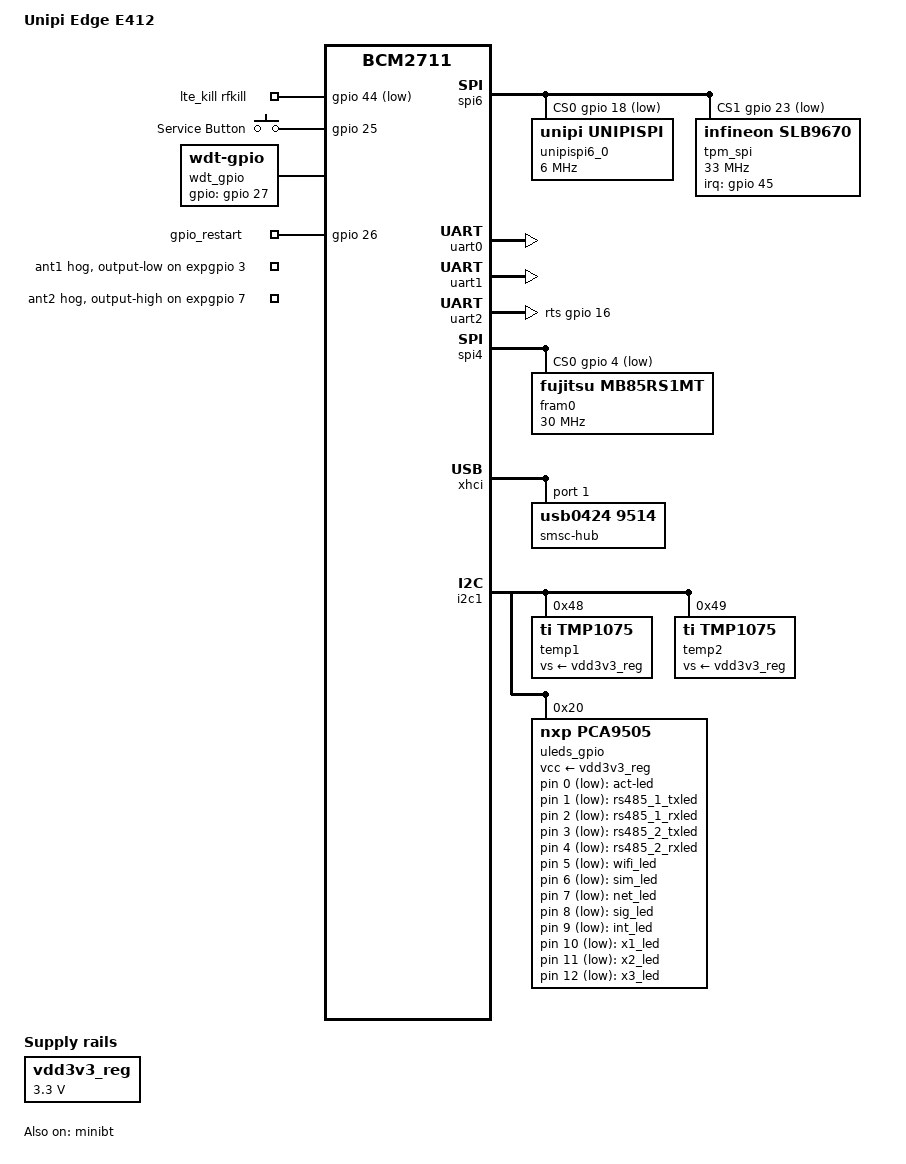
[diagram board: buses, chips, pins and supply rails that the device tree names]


/dts-v1/;
/plugin/;

/{
    
	compatible = "brcm,bcm2711";

	fragment@1 {
		target = <&phy1>;
		__overlay__ {
			led-modes = <0x00 0x08>;
		};
	};

	fragment@2 {
		target = <&pcie0>;
		__overlay__ {
			status = "disabled";
		};
	};

	fragment@3 {
		target = <&ant1>;
		__overlay__ {
			status = "disabled";
		};
	};

	fragment@4 {
		target = <&ant2>;
		__overlay__ {
			status = "disabled";
		};
	};

	fragment@5 {
		target = <&expgpio>;
		__overlay__ {
			ant1alt: ant1alt-hog {
				gpio-hog;
				gpios = <3 0>; // GPIO_ACTIVE_HIGH
				/* internal antenna disabled */
				output-low;
				line-name = "ant1";
			};

			ant2alt: ant2alt-hog {
				gpio-hog;
				gpios = <7 0>; // GPIO_ACTIVE_HIGH
				/* external antenna enabled */
				output-high;
				line-name = "ant2";
			};
		};
	};

	fragment@6 {
		target-path = "/";
		__overlay__ {
			chassis-type = "embedded";
		};
	};
    fragment@10 {
		target-path = "/";
		__overlay__ {
			model = "Unipi Edge E412";
		};
	};
 
	fragment@51 {
		target = <&spi6_cs_pins>;
		__overlay__ {
			brcm,pins = <18>, <23>;
			brcm,function = <1>; // output input
			brcm,pull = <0>, <0>;
		};
	};

	fragment@52 {
		target = <&spi6>;
		__overlay__ {
			// needed to avoid dtc warning
			#address-cells = <1>;
			#size-cells = <0>;
			compatible = "brcm,bcm2835-spi";
			pinctrl-names = "default";
			pinctrl-0 = <&spi6_pins &spi6_cs_pins>;
			cs-gpios = <&gpio 18 1>, <&gpio 23 1>;
			dmas = <&dma 23>, <&dma 27>;
			dma-names = "tx", "rx";
			status = "okay";
		};
	};

 	fragment@101 {
		target-path = "/aliases";
		__overlay__ {
			bluetooth = "/soc/serial@7e215040/bluetooth";
		};
	};

	fragment@102 {
		target = <&uart0>;
		__overlay__ {
			pinctrl-names = "default";
			pinctrl-0 = <&uart0_ovl_pins>, <&uart0_rts_ovl_pins>;
			status = "okay";
			linux,rs485-enabled-at-boot-time;
		};
	};

	fragment@103 {
		target = <&gpio>;
		__overlay__ {
			uart0_ovl_pins: uart0-ovl-pins {
				brcm,pins = <14 15>;
				brcm,function = <4>; /* alt0 */
				brcm,pull = <0 2>;
			};
			uart0_rts_ovl_pins: uart0-rts-ovl-pins {
				brcm,pins = <17>;
				brcm,function = <7>; /* alt3 */
				brcm,pull = <0>;
			};
		};
	};

	fragment@104 {
		target = <&bt>;
		__overlay__ {
			status = "disabled";
		};
	};

	fragment@105 {
		target = <&uart1>;
		__overlay__ {
			pinctrl-names = "default";
			pinctrl-0 = <&uart1_bt_pins>;
			status = "okay";
		};
	};

	fragment@108 {
		target = <&minibt>;
		__overlay__ {
			status = "okay";
		};
	};
 
        fragment@150 {
                target = <&uart2>;
                __overlay__ {
                        pinctrl-names = "default";
                        pinctrl-0 = <&uart2_pins>, <&pinctrl_uart2_rts>;
                        status = "okay";
                        linux,rs485-enabled-at-boot-time;
                        rts-gpios = <&gpio 16 0>; // GPIO_ACTIVE_HIGH
                };
        };

        fragment@151 {
                target = <&gpio>;
                __overlay__ {
                        pinctrl_uart2_rts: pinctrl-uart2-rts {
                                brcm,pins = <16>;
                                brcm,function = <1>; // out
                                brcm,pull = <0>; // off
                        };
                };
        };

 
	fragment@201 {
		target = <&spi6>;
		__overlay__ {
			// needed to avoid dtc warning
			#address-cells = <1>;
			#size-cells = <0>;

			unipispi6_0: unipispi@0 {
				compatible = "unipi,unipispi";
				reg = <0>;
				#address-cells = <1>;
				#size-cells = <0>;
				modbus-address = <1>;
				spi-max-frequency = <6000000>;
				status = "okay";

				iogroup1: iogroup@1 {
					compatible = "unipi,unipi-mfd", "iogroup";
					reg = <1>;
					board_name = "UDELAB0302";
					fw_name = "UDELAB0302";
					fw_variant = <0x3230>;
					cycle_counter = <1019>;
					master_watchdog_enable = <2>;
					//interrupt-parent = <&gpio>;
					//interrupts = <24 0x1>;     // IRQ_TYPE_EDGE_RISING
					pinctrl-0 = <&pinctrl_stm32_irq>; 
					pinctrl-names = "default";

					di {
						compatible = "unipi,gpio-di";
						gpio-controller;
						#gpio-cells = <2>;
						gpio-line-names = "DI1", "DI2", "DI3", "DI4";
						ngpio = <4>;
						value-reg = <0>;
						debounce-reg = <1010>;
						counter-reg = <3>;
					};
					do {
						compatible = "unipi,gpio-do";
						ngpio = <2>;
						value-coil = <0>;
						gpio-controller;
						#gpio-cells = <2>;
						gpio-line-names = "DO1", "DO2";
					};
				};
			};
		};
	};

	fragment@202 {
		target = <&gpio>;
		__overlay__ {
			pinctrl_stm32_irq: pinctrl-stm32-irq {
				brcm,pins = <24>;
				brcm,function = <0>; // in
				brcm,pull = <1>;     // on
			};
		};
	};

 
        fragment@300 {
                target = <&spi4>;
                __overlay__ {
                        status = "okay";
                        pinctrl-names = "default";
                        pinctrl-0 = <&spi4_pins &spi4_cs_pins>;
                        cs-gpios = <&gpio 4 1>;
                        #address-cells = <1>;
                        #size-cells = <0>;
                        dmas = <&dmamux 19 1>, <&dmamux 20 1>;
                        dma-names = "tx", "rx";

                        fram0: eeprom@0 {
                            compatible = "fujitsu,mb85rs1mt", "atmel,at25";
                            reg = <0>;
                            spi-max-frequency = <30000000>;
                            pagesize = <4096>;
                            size = <131072>;
                            address-width = <24>;
                        };
                };
        };

        fragment@301 {
                target = <&spi4_cs_pins>;
                __overlay__ {
                        brcm,pins = <4>;
                        brcm,function = <1>; //<BCM2835_FSEL_GPIO_OUT>;
                };
        };

 
	fragment@400 {
		target = <&xhci>;
		__overlay__ {
			#address-cells = <1>;
			#size-cells = <0>;
			smsc-hub@1 {
				reg = <1>;
				compatible = "usb0424,9514";
				#address-cells = <1>;
				#size-cells = <0>;
				ethernet1:eth1@1 {
					reg = <1>;
					compatible = "usb0424,ec00";
				};
				mpcie:mpcie@2 {
					reg = <2>;
				};
			};
		};
	}; 

	fragment@401 {
		target-path = "/aliases";
		__overlay__ {
			// Must be defined absolutly - Tady je problem v ruznuch nazvech usb/xhci v DT mainline/rpi
			//ethernet1 = "/scb/usb@7e9c0000/smsc-hub@1/eth1@1";
			ethernet1 = "/scb/xhci@7e9c0000/smsc-hub@1/eth1@1";
		};
	};

	fragment@403 {
		target-path = "/";
		__overlay__ {
			lte_kill{
				compatible = "unipi,rfkill-level";
				type = "wwan";
				algo = "pulse";
				rfkill-gpio = <&gpio 44 1>;
				monitor-usb = <&mpcie>;
				pinctrl-names = "default";
				pinctrl-0 = <&pinctrl_lte_reset>;
			};
		};
	}; 

	fragment@404 {
		target = <&gpio>;
		__overlay__ {
			pinctrl_lte_reset: pinctrl-lte-reset {
				brcm,pins = <44>;
				brcm,function = <1>; // out
				brcm,pull = <0>; // off
			};
		};
	};
         fragment@500 {
                target = <&i2c1>;
                __overlay__ {
                        #address-cells = <0x01>;
                        #size-cells = <0x00>;
                        status = "okay";
                        //clock-frequency = <400000>;  // Set I2C1 frequency to 400 kHz

                        temp1: temp1@48 {
                                #thermal-sensor-cells = <0>;
                                compatible = "ti,tmp1075";
                                reg = <0x48>;
                                status = "okay";
                                thermal-zones = <&pcb_thermal>;
                                vs-supply = <&vdd3v3_reg>;
                        };
                        temp2: temp2@49 {
                                #thermal-sensor-cells = <0>;
                                compatible = "ti,tmp1075";
                                reg = <0x49>;
                                status = "okay";
                                thermal-zones = <&smps_thermal>;
                                vs-supply = <&vdd3v3_reg>;
                        };
                };
        };

        fragment@501 {
                target-path = "/";
                __overlay__ {
                        thermal-zones {
                                pcb_thermal: pcb-thermal {
                                        polling-delay-passive = <250>; /* milliseconds */
                                        polling-delay = <1000>; /* milliseconds */
                                        /* sensor       ID */
                                        thermal-sensors = <&temp1>;
                                        trips {
                                                pcb_hot: trip-point0 {
                                                        temperature = <50000>;  /* 70  C trip point */
                                                        hysteresis = <5000>;  /* 5  C hysteresis */
                                                        type = "hot";
                                                };
                                                pcb_overheat: trip-point1 {
                                                        temperature = <490000>;  /* 70  C trip point */
                                                        hysteresis = <5000>;  /* 5  C hysteresis */
                                                        type = "critical";
                                                };
                                        };
                                };
                                smps_thermal: smps-thermal {
                                        polling-delay-passive = <250>; /* milliseconds */
                                        polling-delay = <1000>; /* milliseconds */
                                        /* sensor       ID */
                                        thermal-sensors = <&temp2>;
                                        trips {
                                                smps_overheat1: trip-point0 {
                                                        temperature = <60000>;  /* 70  C trip point */
                                                        hysteresis = <2000>;  /* 5  C hysteresis */
                                                        type = "active";
                                                };
                                                smps_overheat2: trip-point1 {
                                                        temperature = <65000>;  /* 70  C trip point */
                                                        hysteresis = <2000>;  /* 5  C hysteresis */
                                                        type = "passive";
                                                };
                                                smps_overheat3: trip-point2 {
                                                        temperature = <70000>;  /* 70  C trip point */
                                                        hysteresis = <2000>;  /* 5  C hysteresis */
                                                        type = "hot";
                                                };
                                                smps_hot: trip-point3 {
                                                        temperature = <495000>;  /* 70  C trip point */
                                                        hysteresis = <5000>;  /* 5  C hysteresis */
                                                        type = "critical";
                                                };

                                        };
                                };
                        };
                };
        };
 	fragment@600 {
		target-path = "/";
		__overlay__ {


			gpio_keys: gpio-keys {
				compatible = "gpio-keys";
				pinctrl-names = "default";
				pinctrl-0 = <&pinctrl_service_button>;
				label = "Service Button";

				button {
					label = "Service Button";
					gpios = <&gpio 25 0>; /* ACTIVE_HIGH */
					linux,code = <28>; /* KEY_ENTER */
					debounce-interval = <50>;
				};
			};


		};
	};

	fragment@601 {
		target = <&gpio>;
		__overlay__ {
                        pinctrl_service_button: pinctrl-service-button {
				brcm,pins = <25>;
				brcm,function = <0>; /* input */
			};
		};
	};
 
	fragment@701 {
		target = <&gpio>;
		__overlay__ {
			wd_pins: wd-pins {
				brcm,pins = <27>;
				brcm,function = <1>; /* output */
			};
			reset_pins: reset-pins {
				brcm,pins = <26>;
				brcm,function = <1>; /* output */
			};
		};
	};

	fragment@702 {
		target-path = "/";
		__overlay__ {
			wdt_gpio: wdt-gpio {
				compatible = "linux,wdt-gpio";
				//always-running;
				hw_margin_ms = <4000>;
				hw_algo = "level";
				pinctrl-names = "default";
                                timeout-sec = <10>;
				pinctrl-0 = <&wd_pins>;
				gpios = <&gpio 27 0>;
				status = "okay";
			};
			gpio_restart: gpio-restart {
				compatible = "gpio-restart";
				open-source;
				gpios = <&gpio 26 0>;
				priority = <255>; /* <128> or <255> */
				active-delay = <100>;
				inactive-delay = <100>;
				wait-delay = <3000>;
				pinctrl-names = "default";
				pinctrl-0 = <&reset_pins>;
				status = "okay";
			};

			/* Regulator node to avoid "dummy regulator" messages */
			vdd3v3_reg: regulator-vdd {
				compatible = "regulator-fixed";
				regulator-name = "vdd3v3_reg";
				regulator-min-microvolt = <3300000>;
				regulator-max-microvolt = <3300000>;
			};
		};
	};
	fragment@703 {
		target-path = "/aliases";
		__overlay__ {
			watchdog1 = "/wdt-gpio";
		};
	};
 
	fragment@801 {
		target = <&spi6>;
		__overlay__ {
			// needed to avoid dtc warning
			#address-cells = <1>;
			#size-cells = <0>;

			tpm_spi: tpm-spi@1 {
				compatible = "infineon,slb9670";
				reg = <1>;
				#address-cells = <1>;
				#size-cells = <0>;
				interrupt-parent = <&gpio>;
				//interrupts = <45 0x2>;     // IRQ_TYPE_EDGE_FALLING
				interrupts = <45 0x8>;     // IRQ_TYPE_LEVEL_LOW
				spi-max-frequency = <33000000>;
				status = "okay";
			};
		};
	};

	fragment@802 {
		target = <&gpio>;
		__overlay__ {
			pinctrl_tpm_irq: pinctrl-tpm-irq {
				brcm,pins = <45>;
				brcm,function = <0>; // BCM2835_FSEL_GPIO_IN
				brcm,pull = <2>;     // BCM2835_PUD_UP
			};
		};
	};
 
	fragment@901 {
		target = <&i2c1>;
		__overlay__ {
			#address-cells = <1>;
			#size-cells = <0>;
			uleds_gpio: pca9505@20 {
				compatible = "nxp,pca9505";
				reg = <0x20>;
				gpio-controller;
				#gpio-cells = <2>;
				vcc-supply = <&vdd3v3_reg>;

				reserved {
					gpio-hog;
					gpios = <14 0>, <15 0>, <16 0>,
					        <17 0>, <18 0>, <19 0>, <20 0>,
					        <21 0>, <22 0>, <23 0>,
					        <25 0>, <26 0>, <27 0>, <28 0>,
					        <29 0>, <30 0>, <31 0>;
					input;
				};
			};
		};
	};

	fragment@902 {
		target-path = "/";
		__overlay__ {
			sysled:sysled {
				compatible = "gpio-leds";
				act-led {
					gpios = <&uleds_gpio 0 1>;
					default-state = "off";
					linux,default-trigger = "heartbeat";
				};
				rs485_1_txled: rs485-1-txled {
					gpios = <&uleds_gpio 1 1>;
					default-state = "off";
					linux,default-trigger = "tty";
				};
				rs485_1_rxled: rs485-1-rxled {
					gpios = <&uleds_gpio 2 1>;
					default-state = "off";
					linux,default-trigger = "tty";
				};
				rs485_2_txled: rs485-2-txled {
					gpios = <&uleds_gpio 3 1>;
					default-state = "off";
					linux,default-trigger = "tty";
				};
				rs485_2_rxled: rs485-2-rxled {
					gpios = <&uleds_gpio 4 1>;
					default-state = "off";
					linux,default-trigger = "tty";
				};
				wifi_led: wifi-led {
					gpios = <&uleds_gpio 5 1>;
					linux,default-trigger = "netdev";
				};
				sim_led: sim-led {
					gpios = <&uleds_gpio 6 1>;
					default-state = "off";
				};
				net_led: net-led {
					gpios = <&uleds_gpio 7 1>;
					default-state = "off";
				};
				sig_led: sig-led {
					gpios = <&uleds_gpio 8 1>;
					default-state = "off";
				};
				int_led: int-led {
					gpios = <&uleds_gpio 9 1>;
					default-state = "off";
				};
				x1_led: x1-led {
					gpios = <&uleds_gpio 10 1>;
					default-state = "off";
				};
				x2_led: x2-led {
					gpios = <&uleds_gpio 11 1>;
					default-state = "off";
				};
				x3_led: x3-led {
					gpios = <&uleds_gpio 12 1>;
					default-state = "off";
				};
				x4_led: x4-led {
					gpios = <&uleds_gpio 13 1>;
					default-state = "off";
				};
			};
		};
	};
};



/delete-node/ &x4_led;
